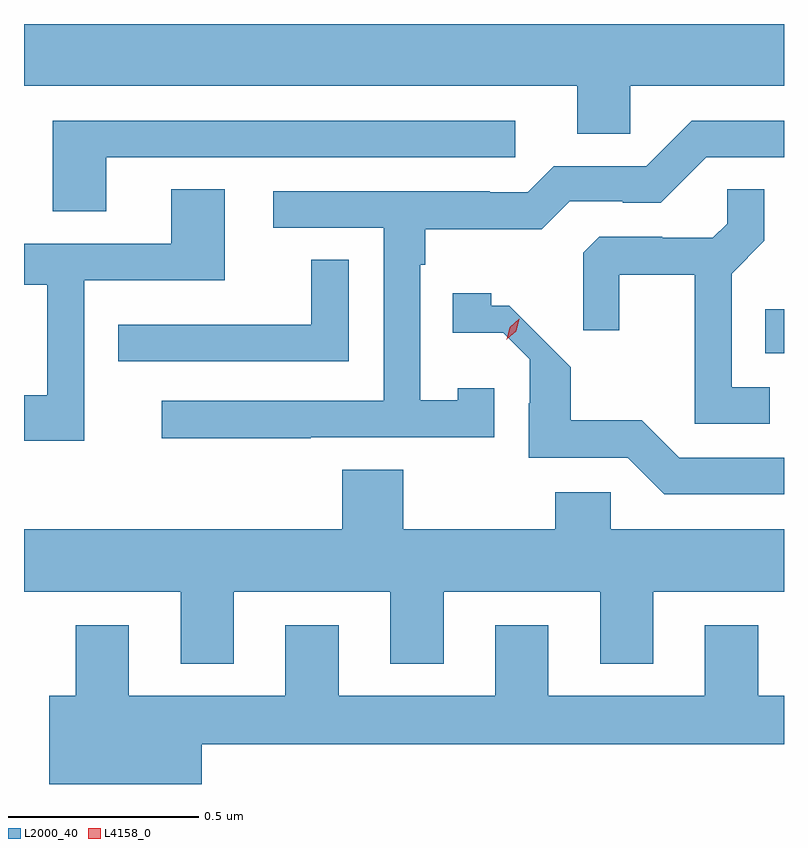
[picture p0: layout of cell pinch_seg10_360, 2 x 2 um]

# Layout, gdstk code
import gdstk
lib = gdstk.Library(unit=1e-6, precision=1e-09)
def R(c, l, rs):  # rectangles x0, y0, x1, y1
    for r in rs: c.add(gdstk.rectangle(r[:2], r[2:], *l))
def P(c, l, *ps):  # polygons
    for p in ps: c.add(gdstk.Polygon(p, *l))
L2000_40 = (2000, 40)
L4158_0 = (4158, 0)

pinch_seg10_360 = lib.new_cell('pinch_seg10_360')
R(pinch_seg10_360, L2000_40, [(511.346,1280.963,511.395,1281.079)])
P(pinch_seg10_360, L2000_40, [(510.99,1281.668),(511.395,1281.668),(511.395,1281.83),(509.395,1281.83),(509.395,1281.668),(510.851,1281.668),(510.851,1281.541),(510.99,1281.541)],
  [(510.149,1280.742),(510.633,1280.742),(510.633,1280.872),(510.537,1280.872),(510.537,1280.84),(510.438,1280.84),(510.438,1281.197),(510.451,1281.197),(510.451,1281.29),(510.758,1281.29),(510.831,1281.363),(510.97,1281.363),(510.97,1281.36),(511.071,1281.36),(511.191,1281.48),(511.395,1281.48),(511.395,1281.576),(511.152,1281.576),(511.032,1281.456),(510.789,1281.456),(510.72,1281.387),(510.62,1281.387),(510.62,1281.39),(510.051,1281.39),(510.051,1281.294),(510.342,1281.294),(510.342,1280.838),(509.757,1280.838),(509.757,1280.74),(510.149,1280.74)],
  [(509.611,1281.48),(510.688,1281.48),(510.688,1281.576),(509.471,1281.576),(509.471,1281.337),(509.611,1281.337)],
  [(511.357,1280.874),(511.257,1280.874),(511.257,1281.173),(511.343,1281.259),(511.343,1281.395),(511.245,1281.395),(511.245,1281.304),(511.208,1281.267),(511.074,1281.267),(511.074,1281.27),(510.909,1281.27),(510.867,1281.228),(510.867,1281.024),(510.962,1281.024),(510.962,1281.17),(511.16,1281.17),(511.16,1280.778),(511.357,1280.778)],
  [(509.553,1281.156),(509.923,1281.156),(509.923,1281.395),(509.783,1281.395),(509.783,1281.252),(509.395,1281.252),(509.395,1281.144),(509.456,1281.144),(509.456,1280.853),(509.395,1280.853),(509.395,1280.733),(509.553,1280.733)],
  [(510.249,1281.209),(510.151,1281.209),(510.151,1281.039),(509.755,1281.039),(509.755,1281.038),(509.643,1281.038),(509.643,1280.943),(510.249,1280.943)],
  [(511.395,1280.688),(511.119,1280.688),(511.021,1280.787),(510.834,1280.787),(510.834,1280.927),(510.672,1281.089),(510.624,1281.089),(510.624,1281.121),(510.523,1281.121),(510.523,1281.018),(510.656,1281.018),(510.726,1280.948),(510.726,1280.832),(510.723,1280.832),(510.723,1280.688),(510.984,1280.688),(511.08,1280.592),(511.395,1280.592)],
  [(509.947,1280.336),(510.359,1280.336),(510.359,1280.147),(510.499,1280.147),(510.499,1280.336),(510.911,1280.336),(510.911,1280.147),(511.051,1280.147),(511.051,1280.336),(511.395,1280.336),(511.395,1280.5),(510.939,1280.5),(510.939,1280.598),(510.793,1280.598),(510.793,1280.5),(510.393,1280.5),(510.393,1280.657),(510.233,1280.657),(510.233,1280.5),(509.395,1280.5),(509.395,1280.336),(509.807,1280.336),(509.807,1280.147),(509.947,1280.147)],
  [(509.863,1279.934),(511.395,1279.934),(511.395,1280.062),(511.327,1280.062),(511.327,1280.248),(511.187,1280.248),(511.187,1280.062),(510.775,1280.062),(510.775,1280.248),(510.635,1280.248),(510.635,1280.062),(510.223,1280.062),(510.223,1280.248),(510.083,1280.248),(510.083,1280.062),(509.671,1280.062),(509.671,1280.248),(509.531,1280.248),(509.531,1280.062),(509.462,1280.062),(509.462,1279.83),(509.863,1279.83)])
P(pinch_seg10_360, L4158_0, [(510.665,1280.999),(510.665,1281),(510.673,1281.032),(510.698,1281.054),(510.698,1281.055),(510.698,1281.054),(510.69,1281.022),(510.665,1281)])

lib.write_gds('pinch_seg10_360.gds')
